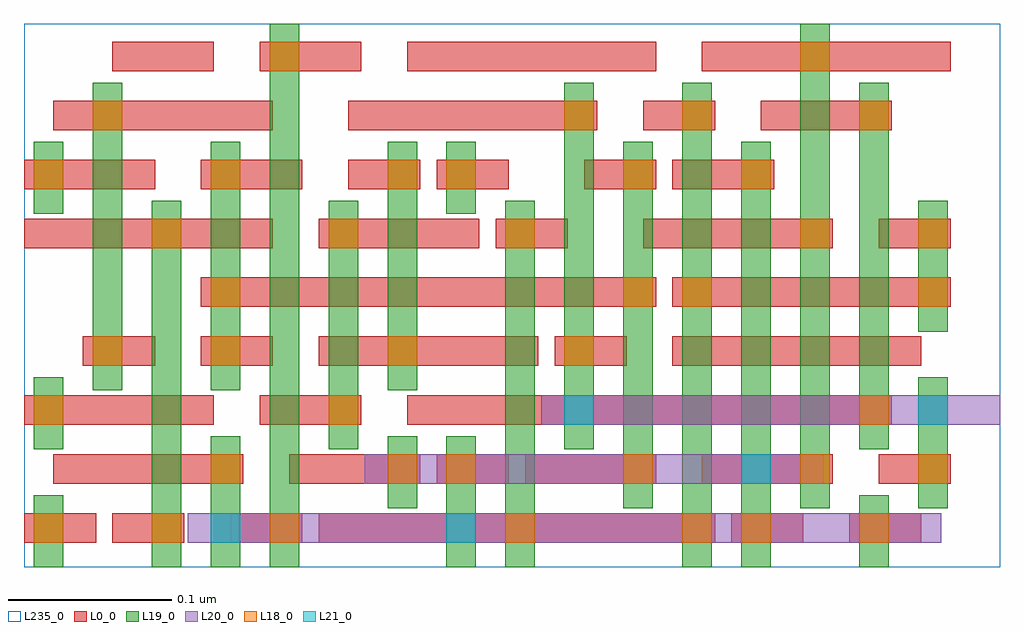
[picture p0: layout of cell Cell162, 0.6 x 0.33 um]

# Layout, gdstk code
import gdstk
lib = gdstk.Library(unit=1e-6, precision=2.5e-10)
def R(c, l, rs):  # rectangles x0, y0, x1, y1
    for r in rs: c.add(gdstk.rectangle(r[:2], r[2:], *l))
def A(c, l, x, y, w, h, nx, ny, dx, dy):  # array of equal rectangles
    R(c, l, [(x+i*dx, y+j*dy, x+i*dx+w, y+j*dy+h) for i in range(nx) for j in range(ny)])
L0_0 = (0, 0)
L18_0 = (18, 0)
L19_0 = (19, 0)
L20_0 = (20, 0)
L21_0 = (21, 0)
L235_0 = (235, 0)

cell162 = lib.new_cell('Cell162')
R(cell162, L0_0, [(0.004,-0.001,0.048,0.017), (0.058,-0.001,0.102,0.017), (0.13,-0.001,0.174,0.017), (0.184,-0.001,0.426,0.017), (0.436,-0.001,0.48,0.017), (0.508,-0.001,0.552,0.017), (0.022,0.035,0.138,0.053), (0.166,0.035,0.246,0.053), (0.256,0.035,0.3,0.053), (0.31,0.035,0.39,0.053), (0.418,0.035,0.498,0.053), (0.526,0.035,0.57,0.053), (0.004,0.071,0.12,0.089), (0.148,0.071,0.21,0.089), (0.238,0.071,0.534,0.089), (0.04,0.107,0.084,0.125), (0.112,0.107,0.156,0.125), (0.184,0.107,0.318,0.125), (0.328,0.107,0.372,0.125), (0.4,0.107,0.552,0.125), (0.112,0.143,0.39,0.161), (0.4,0.143,0.57,0.161), (0.004,0.179,0.156,0.197), (0.184,0.179,0.282,0.197), (0.292,0.179,0.336,0.197), (0.382,0.179,0.498,0.197), (0.526,0.179,0.57,0.197), (0.004,0.215,0.084,0.233), (0.112,0.215,0.174,0.233), (0.202,0.215,0.246,0.233), (0.256,0.215,0.3,0.233), (0.346,0.215,0.39,0.233), (0.4,0.215,0.462,0.233), (0.022,0.251,0.156,0.269), (0.202,0.251,0.354,0.269), (0.382,0.251,0.426,0.269), (0.454,0.251,0.534,0.269), (0.058,0.287,0.12,0.305), (0.148,0.287,0.21,0.305), (0.238,0.287,0.39,0.305), (0.418,0.287,0.57,0.305)])
A(cell162, L18_0, 0.01, -0.001, 0.018, 0.018, 3, 1, 0.072, 0)
A(cell162, L18_0, 0.262, 0.035, 0.018, 0.018, 3, 1, 0.108, 0)
A(cell162, L18_0, 0.118, 0.107, 0.018, 0.018, 3, 1, 0.108, 0)
A(cell162, L18_0, 0.082, 0.179, 0.018, 0.018, 3, 1, 0.108, 0)
A(cell162, L18_0, 0.01, 0.215, 0.018, 0.018, 3, 1, 0.108, 0)
R(cell162, L18_0, [(0.298,-0.001,0.316,0.017), (0.406,-0.001,0.424,0.017), (0.442,-0.001,0.46,0.017), (0.514,-0.001,0.532,0.017), (0.118,0.035,0.136,0.053), (0.226,0.035,0.244,0.053), (0.55,0.035,0.568,0.053), (0.01,0.071,0.028,0.089), (0.19,0.071,0.208,0.089), (0.514,0.071,0.532,0.089), (0.046,0.107,0.064,0.125), (0.118,0.143,0.136,0.161), (0.37,0.143,0.388,0.161), (0.406,0.143,0.424,0.161), (0.55,0.143,0.568,0.161), (0.478,0.179,0.496,0.197), (0.55,0.179,0.568,0.197), (0.262,0.215,0.28,0.233), (0.37,0.215,0.388,0.233), (0.442,0.215,0.46,0.233), (0.046,0.251,0.064,0.269), (0.334,0.251,0.352,0.269), (0.406,0.251,0.424,0.269), (0.514,0.251,0.532,0.269), (0.154,0.287,0.172,0.305), (0.478,0.287,0.496,0.305)])
R(cell162, L19_0, [(0.01,-0.016,0.028,0.028), (0.082,-0.016,0.1,0.208), (0.118,-0.016,0.136,0.064), (0.154,-0.016,0.172,0.316), (0.262,-0.016,0.28,0.064), (0.298,-0.016,0.316,0.208), (0.406,-0.016,0.424,0.28), (0.442,-0.016,0.46,0.244), (0.514,-0.016,0.532,0.028), (0.226,0.02,0.244,0.064), (0.37,0.02,0.388,0.244), (0.478,0.02,0.496,0.316), (0.55,0.02,0.568,0.1), (0.01,0.056,0.028,0.1), (0.19,0.056,0.208,0.208), (0.334,0.056,0.352,0.28), (0.514,0.056,0.532,0.28), (0.046,0.092,0.064,0.28), (0.118,0.092,0.136,0.244), (0.226,0.092,0.244,0.244), (0.55,0.128,0.568,0.208), (0.01,0.2,0.028,0.244), (0.262,0.2,0.28,0.244)])
R(cell162, L20_0, [(0.104,-0.001,0.564,0.017), (0.212,0.035,0.492,0.053), (0.32,0.071,0.6,0.089)])
R(cell162, L21_0, [(0.118,-0.001,0.136,0.017), (0.262,-0.001,0.28,0.017), (0.442,0.035,0.46,0.053), (0.334,0.071,0.352,0.089), (0.55,0.071,0.568,0.089)])
R(cell162, L235_0, [(0.004,-0.016,0.6,0.316)])

lib.write_gds('Cell162.gds')
